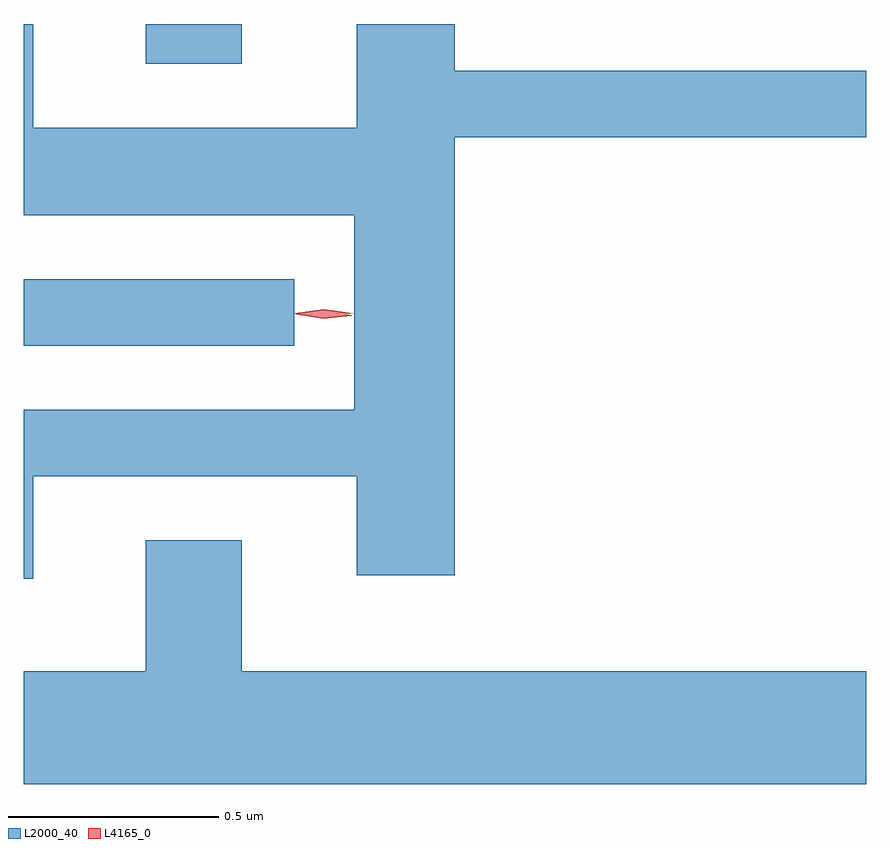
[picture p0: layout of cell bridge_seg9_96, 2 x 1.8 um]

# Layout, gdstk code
import gdstk
lib = gdstk.Library(unit=1e-6, precision=1e-09)
def R(c, l, rs):  # rectangles x0, y0, x1, y1
    for r in rs: c.add(gdstk.rectangle(r[:2], r[2:], *l))
def P(c, l, *ps):  # polygons
    for p in ps: c.add(gdstk.Polygon(p, *l))
L2000_40 = (2000, 40)
L4165_0 = (4165, 0)

bridge_seg9_96 = lib.new_cell('bridge_seg9_96')
R(bridge_seg9_96, L2000_40, [(1788.451,1983.976,1789.093,1984.134), (1788.741,1984.646,1788.969,1984.74)])
P(bridge_seg9_96, L2000_40, [(1788.474,1983.666),(1789.241,1983.666),(1789.241,1983.431),(1789.474,1983.431),(1789.474,1984.471),(1790.451,1984.471),(1790.451,1984.629),(1789.474,1984.629),(1789.474,1984.74),(1789.241,1984.74),(1789.241,1984.494),(1788.474,1984.494),(1788.474,1984.74),(1788.451,1984.74),(1788.451,1984.286),(1789.236,1984.286),(1789.236,1983.824),(1788.451,1983.824),(1788.451,1983.423),(1788.474,1983.423)],
  [(1790.451,1983.204),(1788.969,1983.204),(1788.969,1983.514),(1788.741,1983.514),(1788.741,1983.204),(1788.451,1983.204),(1788.451,1982.936),(1790.451,1982.936)])
P(bridge_seg9_96, L4165_0, [(1789.163,1984.043),(1789.094,1984.053),(1789.093,1984.053),(1789.094,1984.054),(1789.163,1984.063),(1789.232,1984.054),(1789.232,1984.053),(1789.232,1984.053)],
  [(1789.163,1984.04),(1789.097,1984.051),(1789.097,1984.051),(1789.097,1984.052),(1789.164,1984.06),(1789.229,1984.049),(1789.23,1984.049),(1789.229,1984.048)])

lib.write_gds('bridge_seg9_96.gds')
